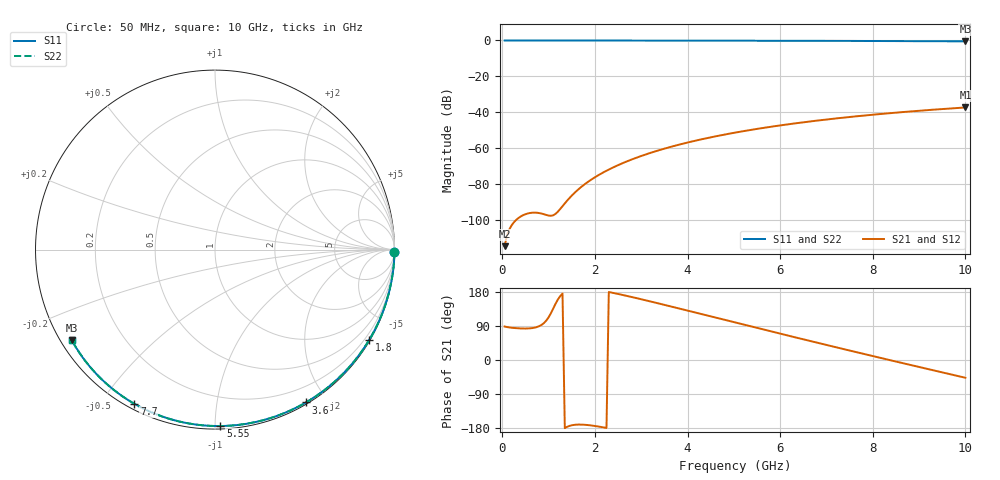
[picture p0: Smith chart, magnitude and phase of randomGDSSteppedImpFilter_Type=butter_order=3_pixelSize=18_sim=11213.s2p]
! freq	dB(S11)	phase(S11)	dB(S12)	phase(S12)
!  dB(S21)	phase(S21)	dB(S22)	phase(S22)
!S-par simulation data
#  GHz  S  DB  R 50
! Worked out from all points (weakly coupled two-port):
!   200 points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, 50 MHz to 10 GHz, reference 50 ohm
!   highest |S21| = -37.28 dB at 10 GHz (marker M1); lowest = -114.4 dB at 50 MHz (marker M2)
!   lowest |S11| = -0.5 dB at 10 GHz (marker M3), VSWR 34.92, Z = 1.55 - j14.5 ohm
!   |S11| at or under -10 dB: nowhere
!   |S22| runs from -0.5 to 0.0 dB; largest |S21 - S12| = 0
!   S11 on the Smith chart (normalised r, x): 50 MHz: open; 1.8 GHz: 0.03, -3.68; 3.6 GHz: 0.02, -1.76; 5.55 GHz: 0.02, -1.03; 7.7 GHz: 0.02, -0.61; 10 GHz: 0.03, -0.29
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0.05  -0.00 -0.9  -114.43 88.4  -114.43 88.4  -0.00 -0.9
0.45  -0.01 -7.7  -97.19 83.1  -97.19 83.1  -0.01 -7.7
0.9  -0.02 -15.4  -96.69 97.6  -96.69 97.6  -0.02 -15.3
1.3  -0.03 -22.1  -92.18 175.3  -92.18 175.3  -0.03 -22.1
1.75  -0.04 -29.6  -80.56 -170.7  -80.56 -170.7  -0.04 -29.5
1.8  -0.04 -30.4  -79.58 -171.1  -79.58 -171.1  -0.04 -30.4
1.95  -0.04 -32.9  -76.92 -173.2  -76.92 -173.2  -0.04 -32.8
2.1  -0.04 -35.3  -74.58 -176.0  -74.58 -176.0  -0.04 -35.3
2.3  -0.05 -38.6  -71.81 179.4  -71.81 179.4  -0.05 -38.6
2.5  -0.05 -41.8  -69.36 174.3  -69.36 174.3  -0.05 -41.8
2.9  -0.06 -48.3  -65.19 163.2  -65.19 163.2  -0.06 -48.2
3.4  -0.07 -56.2  -60.93 148.5  -60.93 148.5  -0.07 -56.1
3.6  -0.08 -59.3  -59.45 142.5  -59.45 142.5  -0.08 -59.2
4.3  -0.10 -69.9  -55.00 121.3  -55.00 121.3  -0.10 -69.9
5.05  -0.12 -81.0  -51.16 98.4  -51.16 98.4  -0.12 -81.0
5.55  -0.14 -88.2  -48.99 83.2  -48.99 83.2  -0.14 -88.1
6.1  -0.17 -96.0  -46.89 66.6  -46.89 66.6  -0.17 -95.9
6.7  -0.20 -104.2  -44.88 48.6  -44.88 48.6  -0.20 -104.1
7.7  -0.27 -117.6  -42.05 19.1  -42.05 19.1  -0.27 -117.5
8.35  -0.32 -126.2  -40.49 0.2  -40.49 0.2  -0.32 -126.1
9.2  -0.41 -137.3  -38.71 -24.2  -38.71 -24.2  -0.41 -137.1
10  -0.50 -147.7  -37.28 -46.9  -37.28 -46.9  -0.50 -147.6
